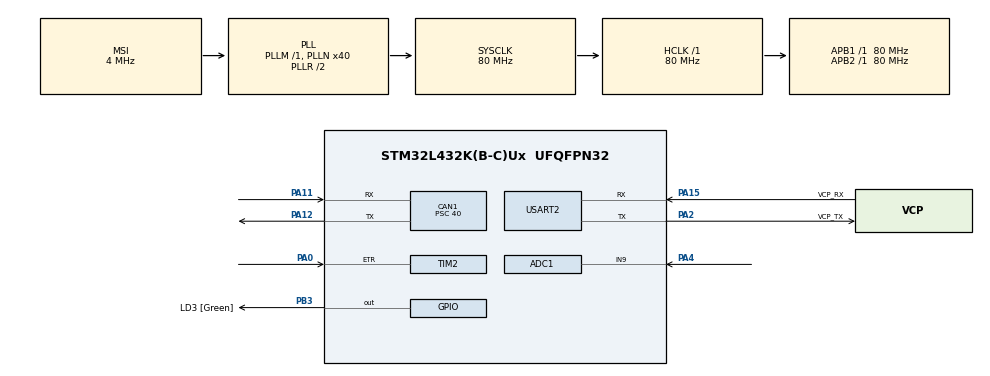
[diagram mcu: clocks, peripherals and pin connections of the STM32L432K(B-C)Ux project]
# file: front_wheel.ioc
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ADC1.Channel-0\#ChannelRegularConversion=ADC_CHANNEL_9
ADC1.ContinuousConvMode=DISABLE
ADC1.DMAContinuousRequests=ENABLE
ADC1.ExternalTrigConv=ADC_EXTERNALTRIG_T1_TRGO
ADC1.NbrOfConversion=1
ADC1.NbrOfConversionFlag=1
ADC1.OffsetNumber-0\#ChannelRegularConversion=ADC_OFFSET_NONE
ADC1.OversamplingMode=ENABLE
ADC1.Rank-0\#ChannelRegularConversion=1
ADC1.Ratio=ADC_OVERSAMPLING_RATIO_16
ADC1.RightBitShift=ADC_RIGHTBITSHIFT_4
ADC1.SamplingTime-0\#ChannelRegularConversion=ADC_SAMPLETIME_640CYCLES_5
ADC1.master=1
CAN1.BS1=CAN_BS1_3TQ
CAN1.BS2=CAN_BS2_4TQ
CAN1.CalculateBaudRate=250000
CAN1.CalculateTimeBit=4000
CAN1.CalculateTimeQuantum=500.0
CAN1.Prescaler=40
Dma.ADC1.0.Direction=DMA_PERIPH_TO_MEMORY
Dma.ADC1.0.Instance=DMA1_Channel1
Dma.ADC1.0.MemDataAlignment=DMA_MDATAALIGN_HALFWORD
Dma.ADC1.0.MemInc=DMA_MINC_ENABLE
Dma.ADC1.0.Mode=DMA_CIRCULAR
Dma.ADC1.0.PeriphDataAlignment=DMA_PDATAALIGN_HALFWORD
Dma.ADC1.0.PeriphInc=DMA_PINC_DISABLE
Dma.ADC1.0.Priority=DMA_PRIORITY_LOW
Dma.Request0=ADC1
Mcu.Family=STM32L4
Mcu.Name=STM32L432K(B-C)Ux
Mcu.Package=UFQFPN32
NVIC.DMA1_Channel1_IRQn=true\:0\:0\:false\:false\:true\:false\:true\:true
NVIC.PriorityGroup=NVIC_PRIORITYGROUP_4
NVIC.TIM6_DAC_IRQn=true\:15\:0\:true\:false\:true\:true\:true\:true
PA0.Signal=S_TIM2_ETR
PA11.Mode=CAN_Activate
PA11.Signal=CAN1_RX
PA12.Mode=CAN_Activate
PA12.Signal=CAN1_TX
PA13\ (JTMS-SWDIO).GPIO_Label=SWDIO
PA13\ (JTMS-SWDIO).Mode=Serial_Wire
PA13\ (JTMS-SWDIO).Signal=SYS_JTMS-SWDIO
PA14\ (JTCK-SWCLK).GPIO_Label=SWCLK
PA14\ (JTCK-SWCLK).Mode=Serial_Wire
PA14\ (JTCK-SWCLK).Signal=SYS_JTCK-SWCLK
PA15\ (JTDI).GPIO_Label=VCP_RX
PA15\ (JTDI).Mode=Asynchronous
PA15\ (JTDI).Signal=USART2_RX
PA2.GPIO_Label=VCP_TX
PA2.Mode=Asynchronous
PA2.Signal=USART2_TX
PA4.Signal=ADCx_IN9
PB3\ (JTDO-TRACESWO).GPIO_Label=LD3 [Green]
PB3\ (JTDO-TRACESWO).Signal=GPIO_Output
ProjectManager.HeapSize=0x200
ProjectManager.StackSize=0x400
ProjectManager.TargetToolchain=Makefile
RCC.ADCFreq_Value=32000000
RCC.AHBFreq_Value=80000000
RCC.APB1Freq_Value=80000000
RCC.APB1TimFreq_Value=80000000
RCC.APB2Freq_Value=80000000
RCC.APB2TimFreq_Value=80000000
RCC.CortexFreq_Value=80000000
RCC.HCLKFreq_Value=80000000
RCC.HSE_VALUE=8000000
RCC.HSI16_VALUE=16000000
RCC.HSI48_VALUE=48000000
RCC.HSI_VALUE=16000000
RCC.LSE_VALUE=32768
RCC.MSI_VALUE=4000000
RCC.PLLMUL=RCC_PLLMUL_4
RCC.PLLN=40
RCC.PLLSAI1N=16
RCC.SYSCLKFreq_VALUE=80000000
RCC.SYSCLKSource=RCC_SYSCLKSOURCE_PLLCLK
RCC.USBFreq_Value=32000000
RCC.VCOOutputFreq_Value=160000000
SH.ADCx_IN9.0=ADC1_IN9,IN9-Single-Ended
SH.S_TIM2_ETR.0=TIM2_ETR,ClockSourceETR_Mode2
TIM1.Period=79
TIM1.Prescaler=9999
TIM1.TIM_MasterOutputTrigger=TIM_TRGO_UPDATE
TIM1.TIM_MasterOutputTrigger2=TIM_TRGO2_UPDATE
TIM6.Period=9999
TIM6.Prescaler=7999
USART2.VirtualMode-Asynchronous=VM_ASYNC
VP_TIM1_VS_ClockSourceINT.Mode=Internal
VP_TIM6_VS_ClockSourceINT.Mode=Enable_Timer
board=NUCLEO-L432KC

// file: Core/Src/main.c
/* USER CODE BEGIN Header */
/**
  ******************************************************************************
  * @file           : main.c
  * @brief          : Main program body
  ******************************************************************************
  * @attention
  *
  * Copyright (c) 2024 STMicroelectronics.
  * All rights reserved.
  *
  * This software is licensed under terms that can be found in the LICENSE file
  * in the root directory of this software component.
  * If no LICENSE file comes with this software, it is provided AS-IS.
  *
  ******************************************************************************
  */
/* USER CODE END Header */
#include "main.h"
#include "adc.h"
#include "can.h"
#include "dma.h"
#include "tim.h"
#include "usart.h"
#include "gpio.h"

/* USER CODE BEGIN Includes */
#include "app_can.h"
#include "app_tick_counter.h"

/* USER CODE END Includes */

/* USER CODE BEGIN PV */
uint32_t adc_val;
/* USER CODE END PV */

void SystemClock_Config(void);

/* USER CODE BEGIN 0 */
uint32_t HAL_COUNETR_TIMER_GET_COUNTER()
{
  return __HAL_TIM_GET_COUNTER(&htim2);
}
void HAL_TIM_PeriodElapsedCallback(TIM_HandleTypeDef *htim)
{
  if (htim->Instance == TIM6)
  {
    uint32_t hz = APP_Read_TickFrequency_FromTimer(1.0, HAL_COUNETR_TIMER_GET_COUNTER);
    uint8_t canFrame[] = {(uint8_t)hz};
    APP_CAN_Primary_Write(0x111, 1, canFrame);
  }
}
/* USER CODE END 0 */

int main(void)
{

  /* MCU Configuration--------------------------------------------------------*/

  /* Reset of all peripherals, Initializes the Flash interface and the Systick. */
  HAL_Init();

  /* Configure the system clock */
  SystemClock_Config();

  /* Initialize all configured peripherals */
  MX_GPIO_Init();
  MX_DMA_Init();
  MX_USART2_UART_Init();
  MX_CAN1_Init();
  MX_TIM2_Init();
  MX_TIM6_Init();
  MX_ADC1_Init();
  MX_TIM1_Init();
  /* USER CODE BEGIN 2 */
  HAL_CAN_Start(&hcan1);
  HAL_TIM_Base_Start_IT(&htim6);
  HAL_TIM_Base_Start(&htim2);
  HAL_TIM_Base_Start(&htim1);
  HAL_ADC_Start_DMA(&hadc1, &adc_val, 1);

  /* USER CODE END 2 */

  /* Infinite loop */
  while (1)
  {

  }
}

void SystemClock_Config(void)
{
  RCC_OscInitTypeDef RCC_OscInitStruct = {0};
  RCC_ClkInitTypeDef RCC_ClkInitStruct = {0};

  /** Configure the main internal regulator output voltage
  */
  if (HAL_PWREx_ControlVoltageScaling(PWR_REGULATOR_VOLTAGE_SCALE1) != HAL_OK)
  {
    Error_Handler();
  }

  /** Initializes the RCC Oscillators according to the specified parameters
  * in the RCC_OscInitTypeDef structure.
  */
  RCC_OscInitStruct.OscillatorType = RCC_OSCILLATORTYPE_MSI;
  RCC_OscInitStruct.MSIState = RCC_MSI_ON;
  RCC_OscInitStruct.MSICalibrationValue = 0;
  RCC_OscInitStruct.MSIClockRange = RCC_MSIRANGE_6;
  RCC_OscInitStruct.PLL.PLLState = RCC_PLL_ON;
  RCC_OscInitStruct.PLL.PLLSource = RCC_PLLSOURCE_MSI;
  RCC_OscInitStruct.PLL.PLLM = 1;
  RCC_OscInitStruct.PLL.PLLN = 40;
  RCC_OscInitStruct.PLL.PLLP = RCC_PLLP_DIV7;
  RCC_OscInitStruct.PLL.PLLQ = RCC_PLLQ_DIV2;
  RCC_OscInitStruct.PLL.PLLR = RCC_PLLR_DIV2;
  if (HAL_RCC_OscConfig(&RCC_OscInitStruct) != HAL_OK)
  {
    Error_Handler();
  }

  /** Initializes the CPU, AHB and APB buses clocks
  */
  RCC_ClkInitStruct.ClockType = RCC_CLOCKTYPE_HCLK|RCC_CLOCKTYPE_SYSCLK
                              |RCC_CLOCKTYPE_PCLK1|RCC_CLOCKTYPE_PCLK2;
  RCC_ClkInitStruct.SYSCLKSource = RCC_SYSCLKSOURCE_PLLCLK;
  RCC_ClkInitStruct.AHBCLKDivider = RCC_SYSCLK_DIV1;
  RCC_ClkInitStruct.APB1CLKDivider = RCC_HCLK_DIV1;
  RCC_ClkInitStruct.APB2CLKDivider = RCC_HCLK_DIV1;

  if (HAL_RCC_ClockConfig(&RCC_ClkInitStruct, FLASH_LATENCY_4) != HAL_OK)
  {
    Error_Handler();
  }
}

/* USER CODE BEGIN 4 */
void HAL_ADC_ConvCpltCallback(ADC_HandleTypeDef *hadc)
{
  if (hadc->Instance == ADC1)
  {
    uint8_t canFrame[2];
    canFrame[0] = adc_val & 0xff;
    canFrame[1] = (adc_val >> 8);
    APP_CAN_Primary_Write(0x121, 2, canFrame);
  }
}
/* USER CODE END 4 */

void Error_Handler(void)
{
  __disable_irq();
  while (1)
  {
  }
}
